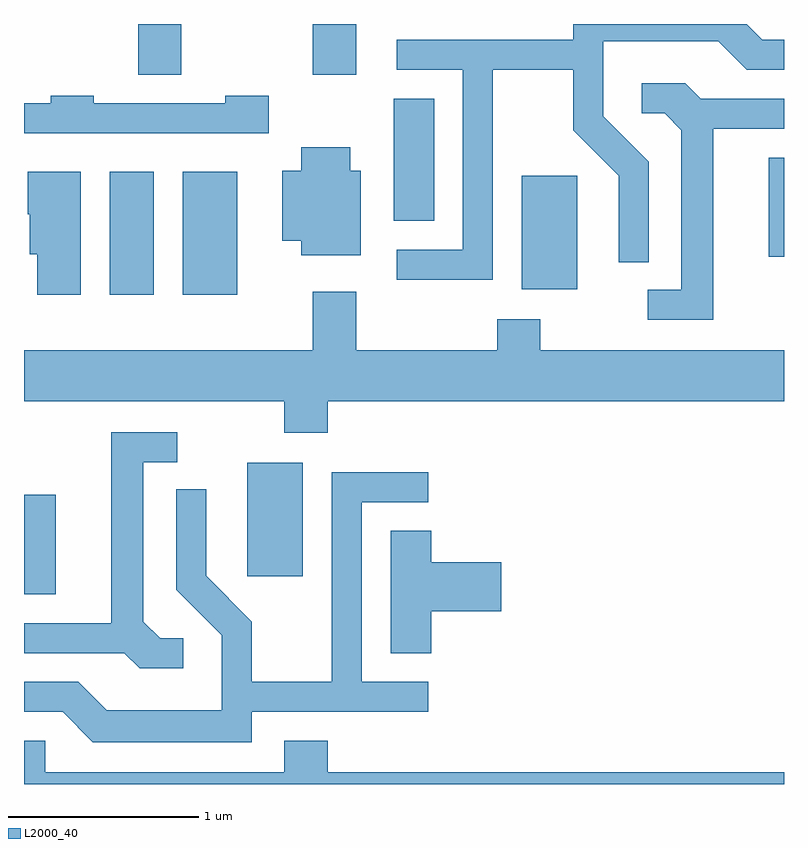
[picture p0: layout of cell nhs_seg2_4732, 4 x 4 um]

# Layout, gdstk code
import gdstk
lib = gdstk.Library(unit=1e-6, precision=1e-09)
def R(c, l, rs):  # rectangles x0, y0, x1, y1
    for r in rs: c.add(gdstk.rectangle(r[:2], r[2:], *l))
def P(c, l, *ps):  # polygons
    for p in ps: c.add(gdstk.Polygon(p, *l))
L2000_40 = (2000, 40)

nhs_seg2_4732 = lib.new_cell('nhs_seg2_4732')
R(nhs_seg2_4732, L2000_40, [(323.611,1102.801,323.779,1103.324), (324.786,1102.896,325.079,1103.494), (324.061,1104.376,324.294,1105.024), (324.446,1104.376,324.734,1105.024), (326.231,1104.406,326.524,1105.004), (327.531,1104.576,327.611,1105.099), (325.556,1104.766,325.769,1105.409), (324.211,1105.536,324.439,1105.802), (325.131,1105.536,325.359,1105.802)])
P(nhs_seg2_4732, L2000_40, [(326.079,1105.561),(326.501,1105.561),(326.501,1105.244),(326.741,1105.004),(326.741,1104.548),(326.899,1104.548),(326.899,1105.077),(326.659,1105.317),(326.659,1105.711),(327.264,1105.711),(327.414,1105.561),(327.611,1105.561),(327.611,1105.719),(327.497,1105.719),(327.414,1105.802),(326.501,1105.802),(326.501,1105.719),(325.573,1105.719),(325.573,1105.561),(325.921,1105.561),(325.921,1104.614),(325.573,1104.614),(325.573,1104.456),(326.079,1104.456)],
  [(327.239,1105.251),(327.611,1105.251),(327.611,1105.409),(327.172,1105.409),(327.092,1105.489),(326.863,1105.489),(326.863,1105.331),(326.984,1105.331),(327.071,1105.244),(327.071,1104.404),(326.893,1104.404),(326.893,1104.246),(327.239,1104.246)],
  [(324.899,1105.424),(324.671,1105.424),(324.671,1105.384),(323.979,1105.384),(323.979,1105.424),(323.751,1105.424),(323.751,1105.384),(323.611,1105.384),(323.611,1105.226),(324.899,1105.226)],
  [(325.384,1105.029),(325.329,1105.029),(325.329,1105.154),(325.071,1105.154),(325.071,1105.029),(324.971,1105.029),(324.971,1104.661),(325.071,1104.661),(325.071,1104.586),(325.384,1104.586)],
  [(323.909,1105.024),(323.631,1105.024),(323.631,1104.8),(323.641,1104.8),(323.641,1104.591),(323.681,1104.591),(323.681,1104.376),(323.909,1104.376)],
  [(325.209,1103.816),(327.611,1103.816),(327.611,1104.084),(326.329,1104.084),(326.329,1104.249),(326.101,1104.249),(326.101,1104.084),(325.359,1104.084),(325.359,1104.394),(325.131,1104.394),(325.131,1104.084),(323.611,1104.084),(323.611,1103.816),(324.981,1103.816),(324.981,1103.651),(325.209,1103.651)],
  [(324.448,1102.569),(324.327,1102.569),(324.239,1102.657),(324.239,1103.496),(324.418,1103.496),(324.418,1103.654),(324.071,1103.654),(324.071,1102.649),(323.611,1102.649),(323.611,1102.491),(324.139,1102.491),(324.219,1102.411),(324.448,1102.411)],
  [(324.809,1102.181),(325.738,1102.181),(325.738,1102.339),(325.389,1102.339),(325.389,1103.286),(325.738,1103.286),(325.738,1103.444),(325.231,1103.444),(325.231,1102.339),(324.809,1102.339),(324.809,1102.657),(324.569,1102.897),(324.569,1103.353),(324.411,1103.353),(324.411,1102.824),(324.651,1102.584),(324.651,1102.189),(324.047,1102.189),(323.897,1102.339),(323.611,1102.339),(323.611,1102.181),(323.814,1102.181),(323.974,1102.021),(324.809,1102.021)],
  [(325.754,1102.711),(326.124,1102.711),(326.124,1102.969),(325.754,1102.969),(325.754,1103.134),(325.541,1103.134),(325.541,1102.491),(325.754,1102.491)],
  [(327.611,1101.864),(325.209,1101.864),(325.209,1102.029),(324.981,1102.029),(324.981,1101.864),(323.724,1101.864),(323.724,1102.029),(323.611,1102.029),(323.611,1101.802),(327.611,1101.802)])

lib.write_gds('nhs_seg2_4732.gds')
